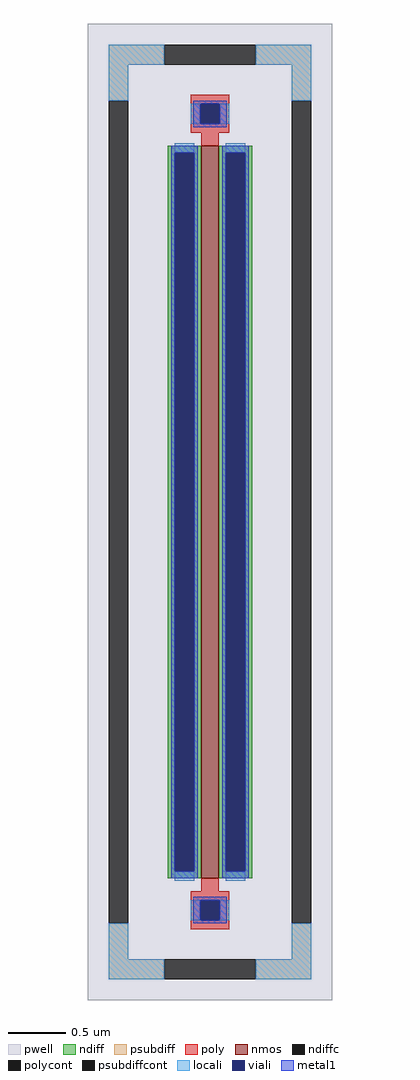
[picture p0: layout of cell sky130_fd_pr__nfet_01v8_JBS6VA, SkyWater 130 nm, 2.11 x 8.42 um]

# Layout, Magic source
magic
tech sky130A
magscale 1 2
<< pwell >>
rect -211 -842 211 842
<< nmos >>
rect -15 -632 15 632
<< ndiff >>
rect -73 620 -15 632
rect -73 -620 -61 620
rect -27 -620 -15 620
rect -73 -632 -15 -620
rect 15 620 73 632
rect 15 -620 27 620
rect 61 -620 73 620
rect 15 -632 73 -620
<< ndiffc >>
rect -61 -620 -27 620
rect 27 -620 61 620
<< psubdiff >>
rect -175 772 -79 806
rect 79 772 175 806
rect -175 710 -141 772
rect 141 710 175 772
rect -175 -772 -141 -710
rect 141 -772 175 -710
rect -175 -806 -79 -772
rect 79 -806 175 -772
<< psubdiffcont >>
rect -79 772 79 806
rect -175 -710 -141 710
rect 141 -710 175 710
rect -79 -806 79 -772
<< poly >>
rect -33 704 33 720
rect -33 670 -17 704
rect 17 670 33 704
rect -33 654 33 670
rect -15 632 15 654
rect -15 -654 15 -632
rect -33 -670 33 -654
rect -33 -704 -17 -670
rect 17 -704 33 -670
rect -33 -720 33 -704
<< polycont >>
rect -17 670 17 704
rect -17 -704 17 -670
<< locali >>
rect -175 772 -79 806
rect 79 772 175 806
rect -175 710 -141 772
rect 141 710 175 772
rect -33 670 -17 704
rect 17 670 33 704
rect -61 620 -27 636
rect -61 -636 -27 -620
rect 27 620 61 636
rect 27 -636 61 -620
rect -33 -704 -17 -670
rect 17 -704 33 -670
rect -175 -772 -141 -710
rect 141 -772 175 -710
rect -175 -806 -79 -772
rect 79 -806 175 -772
<< viali >>
rect -17 670 17 704
rect -61 -620 -27 620
rect 27 -620 61 620
rect -17 -704 17 -670
<< metal1 >>
rect -29 704 29 710
rect -29 670 -17 704
rect 17 670 29 704
rect -29 664 29 670
rect -67 620 -21 632
rect -67 -620 -61 620
rect -27 -620 -21 620
rect -67 -632 -21 -620
rect 21 620 67 632
rect 21 -620 27 620
rect 61 -620 67 620
rect 21 -632 67 -620
rect -29 -670 29 -664
rect -29 -704 -17 -670
rect 17 -704 29 -670
rect -29 -710 29 -704
<< properties >>
string FIXED_BBOX -158 -789 158 789
string gencell sky130_fd_pr__nfet_01v8
string library sky130
string parameters w 6.323 l 0.15 m 1 nf 1 diffcov 100 polycov 100 guard 1 glc 1 grc 1 gtc 1 gbc 1 tbcov 100 rlcov 100 topc 1 botc 1 poverlap 0 doverlap 1 lmin 0.15 wmin 0.42 compatible {sky130_fd_pr__nfet_01v8 sky130_fd_pr__nfet_01v8_lvt  sky130_fd_bs_flash__special_sonosfet_star  sky130_fd_pr__nfet_g5v0d10v5 sky130_fd_pr__nfet_05v0_nvt  sky130_fd_pr__nfet_03v3_nvt} full_metal 1 viasrc 100 viadrn 100 viagate 100 viagb 0 viagr 0 viagl 0 viagt 0
<< end >>
